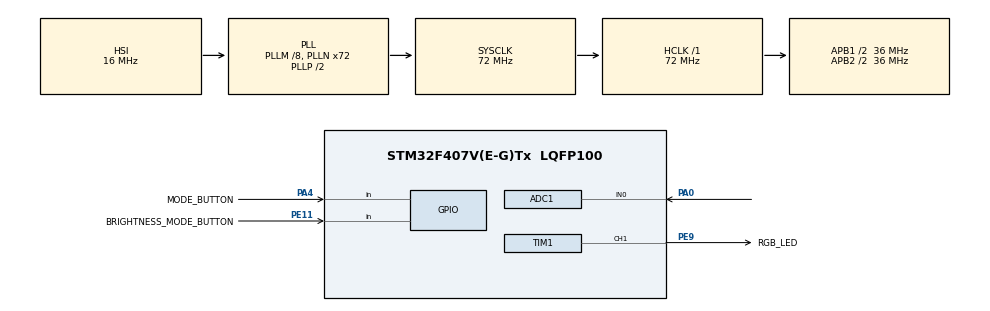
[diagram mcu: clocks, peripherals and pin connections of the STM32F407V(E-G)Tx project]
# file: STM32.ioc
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ADC1.Channel-0\#ChannelRegularConversion=ADC_CHANNEL_0
ADC1.DMAContinuousRequests=DISABLE
ADC1.ExternalTrigConv=ADC_EXTERNALTRIGCONV_T2_TRGO
ADC1.NbrOfConversionFlag=1
ADC1.Rank-0\#ChannelRegularConversion=1
ADC1.SamplingTime-0\#ChannelRegularConversion=ADC_SAMPLETIME_15CYCLES
ADC1.master=1
Dma.Request0=TIM1_CH1
Dma.TIM1_CH1.0.Direction=DMA_MEMORY_TO_PERIPH
Dma.TIM1_CH1.0.FIFOMode=DMA_FIFOMODE_DISABLE
Dma.TIM1_CH1.0.Instance=DMA2_Stream1
Dma.TIM1_CH1.0.MemDataAlignment=DMA_MDATAALIGN_HALFWORD
Dma.TIM1_CH1.0.MemInc=DMA_MINC_ENABLE
Dma.TIM1_CH1.0.Mode=DMA_NORMAL
Dma.TIM1_CH1.0.PeriphDataAlignment=DMA_PDATAALIGN_HALFWORD
Dma.TIM1_CH1.0.PeriphInc=DMA_PINC_DISABLE
Dma.TIM1_CH1.0.Priority=DMA_PRIORITY_HIGH
Mcu.Family=STM32F4
Mcu.Name=STM32F407V(E-G)Tx
Mcu.Package=LQFP100
NVIC.ADC_IRQn=true\:0\:0\:false\:false\:true\:true\:true\:true
NVIC.DMA2_Stream1_IRQn=true\:5\:0\:true\:false\:true\:false\:true\:true
NVIC.PriorityGroup=NVIC_PRIORITYGROUP_4
NVIC.TIM2_IRQn=true\:0\:0\:false\:false\:true\:true\:true\:true
PA0-WKUP.Signal=ADCx_IN0
PA4.GPIO_Label=MODE_BUTTON
PA4.GPIO_PuPd=GPIO_PULLUP
PA4.Signal=GPIO_Input
PE11.GPIO_Label=BRIGHTNESS_MODE_BUTTON
PE11.GPIO_PuPd=GPIO_PULLUP
PE11.Signal=GPIO_Input
PE9.GPIO_Label=RGB_LED
PE9.Signal=S_TIM1_CH1
ProjectManager.HeapSize=0x200
ProjectManager.StackSize=0x400
ProjectManager.TargetToolchain=STM32CubeIDE
RCC.48MHZClocksFreq_Value=36000000
RCC.AHBFreq_Value=72000000
RCC.APB1CLKDivider=RCC_HCLK_DIV2
RCC.APB1Freq_Value=36000000
RCC.APB1TimFreq_Value=72000000
RCC.APB2CLKDivider=RCC_HCLK_DIV2
RCC.APB2Freq_Value=36000000
RCC.APB2TimFreq_Value=72000000
RCC.CortexFreq_Value=72000000
RCC.HCLKFreq_Value=72000000
RCC.HSE_VALUE=8000000
RCC.HSI_VALUE=16000000
RCC.LSE_VALUE=32768
RCC.PLLM=8
RCC.PLLN=72
RCC.SYSCLKFreq_VALUE=72000000
RCC.SYSCLKSource=RCC_SYSCLKSOURCE_PLLCLK
RCC.VCOOutputFreq_Value=144000000
SH.ADCx_IN0.0=ADC1_IN0,IN0
SH.S_TIM1_CH1.0=TIM1_CH1,PWM Generation1 CH1
TIM1.Channel-PWM\ Generation1\ CH1=TIM_CHANNEL_1
TIM1.Period=90 - 1
TIM1.Prescaler=0
TIM2.Period=4
TIM2.Prescaler=999
TIM2.TIM_MasterOutputTrigger=TIM_TRGO_UPDATE
TIM2.TIM_MasterSlaveMode=TIM_MASTERSLAVEMODE_DISABLE
VP_TIM1_VS_ClockSourceINT.Mode=Internal
VP_TIM2_VS_ClockSourceINT.Mode=Internal
board=custom

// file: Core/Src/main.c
/* USER CODE BEGIN Header */
/**
  ******************************************************************************
  * @file           : main.c
  * @brief          : Main program body
  ******************************************************************************
  * @attention
  *
  * Copyright (c) 2025 STMicroelectronics.
  * All rights reserved.
  *
  * This software is licensed under terms that can be found in the LICENSE file
  * in the root directory of this software component.
  * If no LICENSE file comes with this software, it is provided AS-IS.
  *
  ******************************************************************************
  */
/* USER CODE END Header */
#include "main.h"

/* USER CODE BEGIN Includes */
#include "math.h"
#include "time.h"
#include "stdlib.h"
#include "stdbool.h"
#include <stdio.h>
#include "stm32f4xx.h"

#define ARM_MATH_CM4
#include "arm_math.h"
/* USER CODE END Includes */

/* USER CODE BEGIN PD */
#define MAX_LED 54

#define MAX_BRIGHTNESS 255
#define NORMAL_BRIGHTNESS 128
#define USE_BRIGHTNESS 1

// for FFT
#define FFT_BUFFER_SIZE 2048
#define SAMPLE_RATE_HZ 14400.0f
#define UINT16_TO_FLOAT 0.00001525879f

/* USER CODE END PD */

ADC_HandleTypeDef hadc1;
TIM_HandleTypeDef htim1;
TIM_HandleTypeDef htim2;
DMA_HandleTypeDef hdma_tim1_ch1;

/* USER CODE BEGIN PV */

////////////////////////////////////////////////////////////////////////////////
/////////////////////////LED control////////////////////////////////////////////
uint8_t brightness_mode = NORMAL_BRIGHTNESS;
uint16_t LED_DURATION_MS = 100;
uint16_t amp = 0;
bool led_is_on = false;
uint32_t led_on_start = 0;

uint8_t LED_Data[MAX_LED][4];
uint8_t LED_Mod[MAX_LED][4];
int datasentflag = 0;
uint16_t pwmData[(24 * MAX_LED)+50];
uint16_t  effStep = 0;

uint16_t dynamic_threshold = 20;
uint8_t colors[7][3] = {
    {255, 0, 0},     // Red
    {255, 127, 0},   // Orange
    {255, 255, 0},   // Yellow
    {0, 255, 0},     // Green
    {0, 0, 255},     // Blue
    {75, 0, 130},    // Indigo
    {148, 0, 211}    // Violet
};

////////////////////////////////////////////////////////////////////////////////
/////////////////////////Sound intensity control////////////////////////////////

int16_t middle_point_index = 32;
uint32_t middle_point = 0;

int amp_maxn = 1600; 	// Noise
int amp_maxq = 1000;	// Quiet

////////////////////////////////////////////////////////////////////////////////
/////////////////////////Frequency control (FFT)////////////////////////////////
uint16_t peakHz = 0;
arm_rfft_fast_instance_f32 fftHandler;
float fftBufIn[FFT_BUFFER_SIZE];
float fftBufOut[FFT_BUFFER_SIZE];
uint16_t fftIndex = 0;
uint8_t fftReady = 0;

/* USER CODE END PV */

void SystemClock_Config(void);
static void MX_GPIO_Init(void);
static void MX_DMA_Init(void);
static void MX_TIM1_Init(void);
static void MX_ADC1_Init(void);
static void MX_TIM2_Init(void);

/* USER CODE BEGIN 0 */

void record_sample_and_maybe_runFFT(uint16_t raw) {
    // Convert raw 12‐bit ADC (0..4095) to float in [-1,+1], after centering around middle_point

    float centered = ((float)(raw - (uint16_t)(middle_point))) * UINT16_TO_FLOAT;
    fftBufIn[fftIndex] = centered;
    fftIndex++;

    if (fftIndex >= FFT_BUFFER_SIZE) {
        // Run the RFFT in place: fftBufIn → fftBufOut
        arm_rfft_fast_f32(&fftHandler, fftBufIn, fftBufOut, 0);

        fftReady = 1;
        fftIndex = 0; // reset buffer index to record next block
    }
}

void HAL_TIM_PWM_PulseFinishedCallback(TIM_HandleTypeDef *htim) {
    if (htim == &htim1) {
        HAL_TIM_PWM_Stop_DMA(&htim1, TIM_CHANNEL_1);
        datasentflag = 1;
    }
}

void Set_LED (int LEDnum, int Red, int Green, int Blue)
{
	LED_Data[LEDnum][0] = LEDnum;
	LED_Data[LEDnum][1] = Green;
	LED_Data[LEDnum][2] = Red;
	LED_Data[LEDnum][3] = Blue;
}

void Set_Brightness (int brightness)
{
#if USE_BRIGHTNESS
    if (brightness > MAX_BRIGHTNESS) brightness = MAX_BRIGHTNESS;
    float scale = brightness / (float)MAX_BRIGHTNESS;

    for (int i = 0; i < MAX_LED; i++)
    {
        // preserve the “LED number” byte
        LED_Mod[i][0] = LED_Data[i][0];
        // scale each color channel linearly
        LED_Mod[i][1] = (uint8_t)(LED_Data[i][1] * scale);
        LED_Mod[i][2] = (uint8_t)(LED_Data[i][2] * scale);
        LED_Mod[i][3] = (uint8_t)(LED_Data[i][3] * scale);
    }
#endif
}

void WS2812_Send (void)
{
	uint32_t indx=0;
	uint32_t color;

	for (int i= 0; i<MAX_LED; i++)
	{
#if USE_BRIGHTNESS
		color = ((LED_Mod[i][1]<<16) | (LED_Mod[i][2]<<8) | (LED_Mod[i][3]));
#else
		color = ((LED_Data[i][1]<<16) | (LED_Data[i][2]<<8) | (LED_Data[i][3]));
#endif

		for (int i=23; i>=0; i--)
		{
			if (color&(1<<i))
			{
				pwmData[indx] = 60;  // 2/3 of 90
			}

			else pwmData[indx] = 30;  // 1/3 of 90

			indx++;
		}

	}

	for (int i=0; i<50; i++)
	{
		pwmData[indx] = 0;
		indx++;
	}

	HAL_TIM_PWM_Start_DMA(&htim1, TIM_CHANNEL_1, (uint32_t *)pwmData, indx);
	while (!datasentflag){};
	datasentflag = 0;
}

void HSV_to_RGB(float h, float s, float v, uint8_t* r, uint8_t* g, uint8_t* b) {
    int i = (int)(h / 60.0f) % 6;
    float f = (h / 60.0f) - i;
    float p = v * (1.0f - s);
    float q = v * (1.0f - f * s);
    float t = v * (1.0f - (1.0f - f) * s);

    float r_, g_, b_;

    switch (i) {
        case 0: r_ = v; g_ = t; b_ = p; break;
        case 1: r_ = q; g_ = v; b_ = p; break;
        case 2: r_ = p; g_ = v; b_ = t; break;
        case 3: r_ = p; g_ = q; b_ = v; break;
        case 4: r_ = t; g_ = p; b_ = v; break;
        default: r_ = v; g_ = p; b_ = q; break;
    }

    *r = (uint8_t)(r_ * 255);
    *g = (uint8_t)(g_ * 255);
    *b = (uint8_t)(b_ * 255);
}

//effect
void Set_LEDs_color_at_once(int start, int end, int step, int r, int g, int b){
	for (int pos = start; pos < end; pos += step){
		Set_LED(pos, r, g, b);		// purple
	}
}

void Turn_on_all_at_once(int r, int g, int b, int to_led){
	Set_LEDs_color_at_once(0, to_led, 1, r, g, b);
	Set_Brightness(NORMAL_BRIGHTNESS);
	WS2812_Send();
}

void Turn_off_all_at_once(void){
	Set_LEDs_color_at_once(0, MAX_LED, 1, 0, 0, 0);
	Set_Brightness(NORMAL_BRIGHTNESS);
	WS2812_Send();
}

void get_rainbow_color(uint16_t index, uint16_t effStep, uint8_t *red, uint8_t *green, uint8_t *blue)
{
    // Compute a “phase” value in [0, 59], matching the original rainbow_effect logic
    int16_t temp = (int16_t)(effStep - index * 1.2f);
    int16_t mod  = temp % 60;            // may be negative or positive
    if (mod < 0) mod += 60;              // ensure 0 ≤ mod < 60
    uint16_t ind = 60 - mod;             // ind in [1, 60]
    ind = ind % 60;                      // now in [0, 59]

    // Determine which third of the 60-step “wheel” we’re in
    uint16_t segment = (ind % 60) / 20;  // 0 → red→green, 1 → green→blue, 2 → blue→red

    float factor1, factor2;
    uint8_t rr = 0, gg = 0, bb = 0;

    switch (segment) {
        case 0:
            // Transition red → green
            // factor1 goes from 1 → 0 over 20 steps; factor2 goes from 0 → 1
            factor1 = 1.0f - ((float)(ind % 20) / 20.0f);
            factor2 = ((float)(ind % 20) / 20.0f);
            rr = (uint8_t)(255.0f * factor1);
            gg = (uint8_t)(255.0f * factor2);
            bb = 0;
            break;

        case 1:
            // Transition green → blue
            factor1 = 1.0f - ((float)((ind % 60) - 20) / 20.0f);
            factor2 = ((float)((ind % 60) - 20) / 20.0f);
            rr = 0;
            gg = (uint8_t)(255.0f * factor1);
            bb = (uint8_t)(255.0f * factor2);
            break;

        case 2:
            // Transition blue → red
            factor1 = 1.0f - ((float)((ind % 60) - 40) / 20.0f);
            factor2 = ((float)((ind % 60) - 40) / 20.0f);
            rr = (uint8_t)(255.0f * factor2);
            gg = 0;
            bb = (uint8_t)(255.0f * factor1);
            break;
    }

    // Store results
    *red = rr;
    *green = gg;
    *blue = bb;
}

// Helper function to map frequency to color temperature (warm to cool)
void frequency_to_color_temp(uint16_t freq, uint8_t* r, uint8_t* g, uint8_t* b) {
    if (freq < 250) {
        // Low frequencies: Warm colors (Red to Orange)
        float ratio = (float)freq / 250.0f;
        *r = 255;
        *g = (uint8_t)(ratio * 165); // Orange component
        *b = 0;
    } else if (freq <= 2000) {
        // Mid frequencies: Yellow to Green
        float ratio = (float)(freq - 250) / 1750.0f;
        *r = (uint8_t)(255 * (1.0f - ratio)); // Fade out red
        *g = 255;
        *b = 0;
    } else {
        // High frequencies: Cool colors (Green to Blue to Violet)
        float ratio = (freq - 2000) / 18000.0f; // Up to 20kHz
        if (ratio > 1.0f) ratio = 1.0f;

        if (ratio < 0.5f) {
            // Green to Blue
            float t = ratio * 2.0f;
            *r = 0;
            *g = (uint8_t)(255 * (1.0f - t));
            *b = (uint8_t)(255 * t);
        } else {
            // Blue to Violet
            float t = (ratio - 0.5f) * 2.0f;
            *r = (uint8_t)(128 * t);
            *g = 0;
            *b = 255;
        }
    }
}

// Helper function to map frequency to full spectrum (Red to Violet)
void frequency_to_full_spectrum(uint16_t freq, uint8_t* r, uint8_t* g, uint8_t* b) {
    // Map frequency to hue (0-300 degrees)
    float hue = (float)freq / 7000.0f * 300.0f; // 0-7kHz mapped to 0-300°
    if (hue > 300.0f) hue = 300.0f;

    HSV_to_RGB(hue, 1.0f, 1.0f, r, g, b);

}

#define AMP_THRESHOLD 1000     // Amplitude threshold to detect a beat
#define FADE_DURATION_MS 500   // Fade duration in milliseconds
void effect_flash_fade_random_color(uint16_t amp, uint16_t peakHz, uint8_t brightness_mode) {
    static uint32_t last_flash_time = 0;  // Time of the last flash

    uint32_t current_time = HAL_GetTick();  // Current time in milliseconds

    // Beat detection: Check if amplitude exceeds threshold
    if (amp > AMP_THRESHOLD) {
        // Generate a random RGB color (0-255)
        uint8_t r = rand() % 256;
        uint8_t g = rand() % 256;
        uint8_t b = rand() % 256;

        // Set all LEDs to the new random color
        for (int i = 0; i < MAX_LED; i++) {
            Set_LED(i, r, g, b);
        }

        // Update the last flash time to start a new fade cycle
        last_flash_time = current_time;
    }

    // Calculate elapsed time since the last flash
    uint32_t elapsed_time = current_time - last_flash_time;

    // Calculate brightness based on elapsed time
    int brightness;
    if (elapsed_time >= FADE_DURATION_MS) {
        brightness = 0;  // Fully faded out
    } else {
        // Linear fade: brightness decreases from BRIGHTNESS_MODE to 0
        brightness = brightness_mode - (brightness_mode * elapsed_time) / FADE_DURATION_MS;
    }

    // Apply the calculated brightness to the LEDs
    Set_Brightness(brightness);

    // Update the LED strip
    WS2812_Send();
}

void effect_dynamic_vu_meter(uint16_t amplitude, uint16_t peak_freq, uint8_t brightness_mode) {
    // Calculate ratio and number of LEDs to light
    float ratio = (float)amplitude / amp_maxn;
    if (ratio > 1.0f) ratio = 1.0f;

    if (ratio <= 0.05f) {
        Turn_off_all_at_once();
        return;
    }

    int total_leds_to_light = (int)(ratio * MAX_LED);
    if (total_leds_to_light < 1) total_leds_to_light = 1;

    // Get color based on frequency
    uint8_t r, g, b;
    frequency_to_full_spectrum(peak_freq, &r, &g, &b);

    // Clear all LEDs first
    Turn_off_all_at_once();

    // Light LEDs from center outward
    int center = MAX_LED / 2;
    int leds_per_side = total_leds_to_light / 2;

    // Light center LED if odd number
    if (total_leds_to_light % 2 == 1) {
        Set_LED(center, r, g, b);
    }

    // Light LEDs on both sides of center
    for (int i = 1; i <= leds_per_side; i++) {
        if (center - i >= 0) {
            Set_LED(center - i, r, g, b);
        }
        if (center + i < MAX_LED) {
            Set_LED(center + i, r, g, b);
        }
    }

    int brightness = 5 + (int)(ratio * (brightness_mode - 5));
    Set_Brightness(brightness);
    WS2812_Send();
}

void effect_spectrum_color_bands(uint16_t amplitude, uint16_t peak_freq, uint8_t brightness_mode) {
    float ratio = (float)amplitude / amp_maxn;
    if (ratio > 1.0f) ratio = 1.0f;

    if (ratio <= 0.05f) {
        Turn_off_all_at_once();
        return;
    }

    // Define frequency bands and LED sections
    int low_start = 0;
    int low_end = MAX_LED / 3;
    int mid_start = low_end;
    int mid_end = (MAX_LED * 2) / 3;
    int high_start = mid_end;
    int high_end = MAX_LED;

    // Clear all LEDs
    Turn_off_all_at_once();

    // Determine which band the peak frequency falls into
    uint8_t r = 0, g = 0, b = 0;
    int start_led = 0, end_led = 0;

    if (peak_freq <= 250) {
        // Low frequency band - Red
        frequency_to_full_spectrum(peak_freq, &r, &g, &b);
        start_led = low_start;
        end_led = low_end;
    } else if (peak_freq <= 2000) {
        // Mid frequency band - Green
    	frequency_to_full_spectrum(peak_freq, &r, &g, &b);
        start_led = mid_start;
        end_led = mid_end;
    } else {
        // High frequency band - Blue
    	frequency_to_full_spectrum(peak_freq, &r, &g, &b);
        start_led = high_start;
        end_led = high_end;
    }

    // Light up the appropriate section
    for (int i = start_led; i < end_led; i++) {
        Set_LED(i, r, g, b);
    }

    int brightness = 5 + (int)(ratio * (brightness_mode - 5));
    Set_Brightness(brightness);
    WS2812_Send();
}

// Structure to hold pulse data
typedef struct {
    int position;           // Current position of pulse
    uint8_t r, g, b;       // Color of pulse
    uint8_t brightness;    // Brightness of pulse
    uint8_t length;        // Length of pulse in LEDs
    uint8_t active;        // Whether pulse is active
} Pulse;

#define MAX_PULSES 8
static Pulse pulses[MAX_PULSES];
static uint16_t last_amp = 0;
static uint32_t last_pulse_time = 0;

void effect_frequency_chase_gradient(uint16_t amplitude, uint16_t peak_freq, uint8_t brightness_mode) {
    const uint16_t BEAT_THRESHOLD = 800;  // Adjust based on your amp_maxn
    const uint32_t MIN_PULSE_INTERVAL = 100; // Minimum time between pulses (ms)

    uint32_t current_time = HAL_GetTick();

    // Beat detection: amplitude spike above threshold
    if (amplitude > BEAT_THRESHOLD &&
        amplitude > (last_amp + 200) &&
        (current_time - last_pulse_time) > MIN_PULSE_INTERVAL) {

        // Find an inactive pulse slot
        for (int i = 0; i < MAX_PULSES; i++) {
            if (!pulses[i].active) {
                // Initialize new pulse
                pulses[i].position = 0;
                frequency_to_full_spectrum(peak_freq, &pulses[i].r, &pulses[i].g, &pulses[i].b);

                float ratio = (float)amplitude / amp_maxn;
                if (ratio > 1.0f) ratio = 1.0f;

                pulses[i].brightness = (uint8_t)(ratio * 255);
                pulses[i].length = 3 + (uint8_t)(ratio * 8); // 3-11 LEDs long
                pulses[i].active = 1;

                last_pulse_time = current_time;
                break;
            }
        }
    }

    // Clear all LEDs
    Turn_off_all_at_once();

    // Update and draw all active pulses
    for (int i = 0; i < MAX_PULSES; i++) {
        if (pulses[i].active) {
            // Draw pulse with fade-out trail
            for (int j = 0; j < pulses[i].length; j++) {
                int led_pos = pulses[i].position - j;
                if (led_pos >= 0 && led_pos < MAX_LED) {
                    // Calculate fade factor for trail
                    float fade = 1.0f - ((float)j / pulses[i].length);
                    uint8_t r = (uint8_t)(pulses[i].r * fade);
                    uint8_t g = (uint8_t)(pulses[i].g * fade);
                    uint8_t b = (uint8_t)(pulses[i].b * fade);

                    // Blend with existing LED color (simple additive)
                    uint8_t existing_r = LED_Data[led_pos][2];
                    uint8_t existing_g = LED_Data[led_pos][1];
                    uint8_t existing_b = LED_Data[led_pos][3];

                    r = (r + existing_r > 255) ? 255 : r + existing_r;
                    g = (g + existing_g > 255) ? 255 : g + existing_g;
                    b = (b + existing_b > 255) ? 255 : b + existing_b;

                    Set_LED(led_pos, r, g, b);
                }
            }

            // Move pulse forward
            pulses[i].position++;

            // Deactivate pulse if it's moved off the strip
            if (pulses[i].position >= MAX_LED + pulses[i].length) {
                pulses[i].active = 0;
            }
        }
    }

    Set_Brightness(brightness_mode);
    WS2812_Send();

    last_amp = amplitude;
}

void effect_rainbow_roll(uint16_t amplitude, uint16_t peak_freq, uint8_t brightness_mode) {
    static float offset = 0.0f;

    float ratio = (float)amplitude / amp_maxn;
    if (ratio > 1.0f) ratio = 1.0f;

    // Cập nhật offset dựa vào tần số đỉnh
    offset += ((float)peak_freq / 100.0f);  // tốc độ cuộn
    if (offset >= 360.0f) offset -= 360.0f;

    for (int i = 0; i < MAX_LED; i++) {
        float hue = fmodf(offset + (i * (360.0f / MAX_LED)), 360.0f);
        uint8_t r, g, b;
        HSV_to_RGB(hue, 1.0f, ratio, &r, &g, &b);
        Set_LED(i, r, g, b);
    }

    int brightness = 5 + (int)(ratio * (brightness_mode - 5));
    Set_Brightness(brightness);
    WS2812_Send();
}

#define BASS_THRESHOLD 1200		// tăng để LED sáng hơn
#define BASS_FADE_MS 300		// tăng để LED tắt chậm hơn

void effect_bass_pulse_glow(uint16_t amplitude, uint16_t peak_freq, uint8_t brightness_mode) {
    static uint32_t last_bass_time = 0;
    static float hue = 0.0f;
    uint32_t now = HAL_GetTick();

    // Nếu là bass mạnh → cập nhật thời gian và màu sắc (hue)
    if (peak_freq <= 250 && amplitude > BASS_THRESHOLD) {
        last_bass_time = now;

        hue += 30.0f;  // Tăng hue để chuyển màu theo dải cầu vồng
        if (hue >= 360.0f) hue -= 360.0f;
    }

    // Tính độ sáng fade theo thời gian kể từ lần bass gần nhất
    uint32_t elapsed = now - last_bass_time;
    int brightness;

    if (elapsed >= BASS_FADE_MS) {
        brightness = 0;
    } else {
        brightness = brightness_mode - (brightness_mode * elapsed) / BASS_FADE_MS;
    }

    // Chuyển hue → RGB
    uint8_t r, g, b;
    HSV_to_RGB(hue, 1.0f, 1.0f, &r, &g, &b);  // Độ sáng sẽ được điều chỉnh sau bằng Set_Brightness()

    // Set toàn bộ LED thành màu đang có
    for (int i = 0; i < MAX_LED; i++) {
        Set_LED(i, r, g, b);
    }

    Set_Brightness(brightness);
    WS2812_Send();
}

/* USER CODE END 0 */

int main(void)
{

  /* USER CODE BEGIN 1 */

  srand(HAL_GetTick());
  uint8_t mode_button_index = 0;
  uint8_t brightness_button_count = 0;

  /* USER CODE END 1 */

  /* MCU Configuration--------------------------------------------------------*/

  /* Reset of all peripherals, Initializes the Flash interface and the Systick. */
  HAL_Init();

  /* Configure the system clock */
  SystemClock_Config();

  /* Initialize all configured peripherals */
  MX_GPIO_Init();
  MX_DMA_Init();
  MX_TIM1_Init();
  MX_ADC1_Init();
  MX_TIM2_Init();
  /* USER CODE BEGIN 2 */

  HAL_TIM_Base_Start(&htim2);
  HAL_ADC_Start_IT(&hadc1);
  arm_rfft_fast_init_f32(&fftHandler, FFT_BUFFER_SIZE);
  HAL_Delay(50); // delay de co thoi gian de lay sample offset_point

  float	peakVal	= 0.0f;

  /* USER CODE END 2 */

  /* Infinite loop */
  /* USER CODE BEGIN WHILE */
  while (1)
  {

	/////////////////////////////////////////////////////////////////////////////////////////
	// FFT process
			  if (fftReady){
				  peakVal = 0.0f;
				  peakHz = 0.0f;

				  uint16_t halfBins = FFT_BUFFER_SIZE / 2;
				  for (uint16_t k = 1; k < halfBins; k++) {
					  float re = fftBufOut[2 * k];
					  float im = fftBufOut[2 * k + 1];
					  float mag = sqrtf(re * re + im * im);
					  if (mag > peakVal) {
						  peakVal = mag;
						  peakHz  = (uint16_t)(k  * SAMPLE_RATE_HZ / (float)(FFT_BUFFER_SIZE));
					  }
				  }

				  fftReady = 0;
			  }
	/////////////////////////////////////////////////////////////////////////////////////////
	// Effects
			  if(HAL_GPIO_ReadPin(MODE_BUTTON_GPIO_Port, MODE_BUTTON_Pin) == 0) {
				  while(HAL_GPIO_ReadPin(MODE_BUTTON_GPIO_Port, MODE_BUTTON_Pin) == 0) {}
				  mode_button_index = (mode_button_index + 1) % 6;
			  }

			  switch (mode_button_index) {
			  	  case 0: effect_flash_fade_random_color(amp, peakHz, brightness_mode); break;
			  	  case 1: effect_dynamic_vu_meter(amp, peakHz, brightness_mode); break;
			  	  case 2: effect_spectrum_color_bands(amp, peakHz, brightness_mode); break;
			  	  case 3: effect_frequency_chase_gradient(amp, peakHz, brightness_mode); break;
			  	  case 4: effect_rainbow_roll(amp, peakHz, brightness_mode); break;
			  	  case 5: effect_bass_pulse_glow(amp, peakHz, brightness_mode); break;
			  	  default: effect_flash_fade_random_color(amp, peakHz, brightness_mode); break;
			  }

			  if(HAL_GPIO_ReadPin(BRIGHTNESS_MODE_BUTTON_GPIO_Port, BRIGHTNESS_MODE_BUTTON_Pin) == 0) {
				  while(HAL_GPIO_ReadPin(BRIGHTNESS_MODE_BUTTON_GPIO_Port, BRIGHTNESS_MODE_BUTTON_Pin) == 0) {}
				  brightness_mode = (uint8_t)((float)MAX_BRIGHTNESS * ((25.0f * (float)brightness_button_count) / 100.0f));
				  brightness_button_count = (brightness_button_count + 1) % 5;
			  }
		  HAL_Delay(2);
	/////////////////////////////////////////////////////////////////////////////////////////

    /* USER CODE END WHILE */

  }
}

void SystemClock_Config(void)
{
  RCC_OscInitTypeDef RCC_OscInitStruct = {0};
  RCC_ClkInitTypeDef RCC_ClkInitStruct = {0};

  /** Configure the main internal regulator output voltage
  */
  __HAL_RCC_PWR_CLK_ENABLE();
  __HAL_PWR_VOLTAGESCALING_CONFIG(PWR_REGULATOR_VOLTAGE_SCALE1);

  /** Initializes the RCC Oscillators according to the specified parameters
  * in the RCC_OscInitTypeDef structure.
  */
  RCC_OscInitStruct.OscillatorType = RCC_OSCILLATORTYPE_HSI;
  RCC_OscInitStruct.HSIState = RCC_HSI_ON;
  RCC_OscInitStruct.HSICalibrationValue = RCC_HSICALIBRATION_DEFAULT;
  RCC_OscInitStruct.PLL.PLLState = RCC_PLL_ON;
  RCC_OscInitStruct.PLL.PLLSource = RCC_PLLSOURCE_HSI;
  RCC_OscInitStruct.PLL.PLLM = 8;
  RCC_OscInitStruct.PLL.PLLN = 72;
  RCC_OscInitStruct.PLL.PLLP = RCC_PLLP_DIV2;
  RCC_OscInitStruct.PLL.PLLQ = 4;
  if (HAL_RCC_OscConfig(&RCC_OscInitStruct) != HAL_OK)
  {
    Error_Handler();
  }

  /** Initializes the CPU, AHB and APB buses clocks
  */
  RCC_ClkInitStruct.ClockType = RCC_CLOCKTYPE_HCLK|RCC_CLOCKTYPE_SYSCLK
                              |RCC_CLOCKTYPE_PCLK1|RCC_CLOCKTYPE_PCLK2;
  RCC_ClkInitStruct.SYSCLKSource = RCC_SYSCLKSOURCE_PLLCLK;
  RCC_ClkInitStruct.AHBCLKDivider = RCC_SYSCLK_DIV1;
  RCC_ClkInitStruct.APB1CLKDivider = RCC_HCLK_DIV2;
  RCC_ClkInitStruct.APB2CLKDivider = RCC_HCLK_DIV2;

  if (HAL_RCC_ClockConfig(&RCC_ClkInitStruct, FLASH_LATENCY_2) != HAL_OK)
  {
    Error_Handler();
  }
}

static void MX_ADC1_Init(void)
{

  ADC_ChannelConfTypeDef sConfig = {0};

  /** Configure the global features of the ADC (Clock, Resolution, Data Alignment and number of conversion)
  */
  hadc1.Instance = ADC1;
  hadc1.Init.ClockPrescaler = ADC_CLOCK_SYNC_PCLK_DIV2;
  hadc1.Init.Resolution = ADC_RESOLUTION_12B;
  hadc1.Init.ScanConvMode = DISABLE;
  hadc1.Init.ContinuousConvMode = DISABLE;
  hadc1.Init.DiscontinuousConvMode = DISABLE;
  hadc1.Init.ExternalTrigConvEdge = ADC_EXTERNALTRIGCONVEDGE_RISING;
  hadc1.Init.ExternalTrigConv = ADC_EXTERNALTRIGCONV_T2_TRGO;
  hadc1.Init.DataAlign = ADC_DATAALIGN_RIGHT;
  hadc1.Init.NbrOfConversion = 1;
  hadc1.Init.DMAContinuousRequests = DISABLE;
  hadc1.Init.EOCSelection = ADC_EOC_SINGLE_CONV;
  if (HAL_ADC_Init(&hadc1) != HAL_OK)
  {
    Error_Handler();
  }

  /** Configure for the selected ADC regular channel its corresponding rank in the sequencer and its sample time.
  */
  sConfig.Channel = ADC_CHANNEL_0;
  sConfig.Rank = 1;
  sConfig.SamplingTime = ADC_SAMPLETIME_15CYCLES;
  if (HAL_ADC_ConfigChannel(&hadc1, &sConfig) != HAL_OK)
  {
    Error_Handler();
  }

}

static void MX_TIM1_Init(void)
{

  TIM_ClockConfigTypeDef sClockSourceConfig = {0};
  TIM_MasterConfigTypeDef sMasterConfig = {0};
  TIM_OC_InitTypeDef sConfigOC = {0};
  TIM_BreakDeadTimeConfigTypeDef sBreakDeadTimeConfig = {0};

  htim1.Instance = TIM1;
  htim1.Init.Prescaler = 0;
  htim1.Init.CounterMode = TIM_COUNTERMODE_UP;
  htim1.Init.Period = 90 - 1;
  htim1.Init.ClockDivision = TIM_CLOCKDIVISION_DIV1;
  htim1.Init.RepetitionCounter = 0;
  htim1.Init.AutoReloadPreload = TIM_AUTORELOAD_PRELOAD_DISABLE;
  if (HAL_TIM_Base_Init(&htim1) != HAL_OK)
  {
    Error_Handler();
  }
  sClockSourceConfig.ClockSource = TIM_CLOCKSOURCE_INTERNAL;
  if (HAL_TIM_ConfigClockSource(&htim1, &sClockSourceConfig) != HAL_OK)
  {
    Error_Handler();
  }
  if (HAL_TIM_PWM_Init(&htim1) != HAL_OK)
  {
    Error_Handler();
  }
  sMasterConfig.MasterOutputTrigger = TIM_TRGO_RESET;
  sMasterConfig.MasterSlaveMode = TIM_MASTERSLAVEMODE_DISABLE;
  if (HAL_TIMEx_MasterConfigSynchronization(&htim1, &sMasterConfig) != HAL_OK)
  {
    Error_Handler();
  }
  sConfigOC.OCMode = TIM_OCMODE_PWM1;
  sConfigOC.Pulse = 0;
  sConfigOC.OCPolarity = TIM_OCPOLARITY_HIGH;
  sConfigOC.OCNPolarity = TIM_OCNPOLARITY_HIGH;
  sConfigOC.OCFastMode = TIM_OCFAST_DISABLE;
  sConfigOC.OCIdleState = TIM_OCIDLESTATE_RESET;
  sConfigOC.OCNIdleState = TIM_OCNIDLESTATE_RESET;
  if (HAL_TIM_PWM_ConfigChannel(&htim1, &sConfigOC, TIM_CHANNEL_1) != HAL_OK)
  {
    Error_Handler();
  }
  sBreakDeadTimeConfig.OffStateRunMode = TIM_OSSR_DISABLE;
  sBreakDeadTimeConfig.OffStateIDLEMode = TIM_OSSI_DISABLE;
  sBreakDeadTimeConfig.LockLevel = TIM_LOCKLEVEL_OFF;
  sBreakDeadTimeConfig.DeadTime = 0;
  sBreakDeadTimeConfig.BreakState = TIM_BREAK_DISABLE;
  sBreakDeadTimeConfig.BreakPolarity = TIM_BREAKPOLARITY_HIGH;
  sBreakDeadTimeConfig.AutomaticOutput = TIM_AUTOMATICOUTPUT_DISABLE;
  if (HAL_TIMEx_ConfigBreakDeadTime(&htim1, &sBreakDeadTimeConfig) != HAL_OK)
  {
    Error_Handler();
  }
  HAL_TIM_MspPostInit(&htim1);

}

static void MX_TIM2_Init(void)
{

  TIM_ClockConfigTypeDef sClockSourceConfig = {0};
  TIM_MasterConfigTypeDef sMasterConfig = {0};

  htim2.Instance = TIM2;
  htim2.Init.Prescaler = 999;
  htim2.Init.CounterMode = TIM_COUNTERMODE_UP;
  htim2.Init.Period = 4;
  htim2.Init.ClockDivision = TIM_CLOCKDIVISION_DIV1;
  htim2.Init.AutoReloadPreload = TIM_AUTORELOAD_PRELOAD_DISABLE;
  if (HAL_TIM_Base_Init(&htim2) != HAL_OK)
  {
    Error_Handler();
  }
  sClockSourceConfig.ClockSource = TIM_CLOCKSOURCE_INTERNAL;
  if (HAL_TIM_ConfigClockSource(&htim2, &sClockSourceConfig) != HAL_OK)
  {
    Error_Handler();
  }
  sMasterConfig.MasterOutputTrigger = TIM_TRGO_UPDATE;
  sMasterConfig.MasterSlaveMode = TIM_MASTERSLAVEMODE_DISABLE;
  if (HAL_TIMEx_MasterConfigSynchronization(&htim2, &sMasterConfig) != HAL_OK)
  {
    Error_Handler();
  }

}

static void MX_DMA_Init(void)
{

  /* DMA controller clock enable */
  __HAL_RCC_DMA2_CLK_ENABLE();

  /* DMA interrupt init */
  /* DMA2_Stream1_IRQn interrupt configuration */
  HAL_NVIC_SetPriority(DMA2_Stream1_IRQn, 5, 0);
  HAL_NVIC_EnableIRQ(DMA2_Stream1_IRQn);

}

static void MX_GPIO_Init(void)
{
  GPIO_InitTypeDef GPIO_InitStruct = {0};

  /* GPIO Ports Clock Enable */
  __HAL_RCC_GPIOA_CLK_ENABLE();
  __HAL_RCC_GPIOE_CLK_ENABLE();

  /*Configure GPIO pin : MODE_BUTTON_Pin */
  GPIO_InitStruct.Pin = MODE_BUTTON_Pin;
  GPIO_InitStruct.Mode = GPIO_MODE_INPUT;
  GPIO_InitStruct.Pull = GPIO_PULLUP;
  HAL_GPIO_Init(MODE_BUTTON_GPIO_Port, &GPIO_InitStruct);

  /*Configure GPIO pin : BRIGHTNESS_MODE_BUTTON_Pin */
  GPIO_InitStruct.Pin = BRIGHTNESS_MODE_BUTTON_Pin;
  GPIO_InitStruct.Mode = GPIO_MODE_INPUT;
  GPIO_InitStruct.Pull = GPIO_PULLUP;
  HAL_GPIO_Init(BRIGHTNESS_MODE_BUTTON_GPIO_Port, &GPIO_InitStruct);

  /* USER CODE BEGIN MX_GPIO_Init_2 */
     GPIO_InitStruct.Pin  = GPIO_PIN_0;
     GPIO_InitStruct.Mode = GPIO_MODE_ANALOG;
     GPIO_InitStruct.Pull = GPIO_NOPULL;
     HAL_GPIO_Init(GPIOA, &GPIO_InitStruct);
  /* USER CODE END MX_GPIO_Init_2 */
}

/* USER CODE BEGIN 4 */
void HAL_ADC_ConvCpltCallback(ADC_HandleTypeDef* hadc) {

	if (hadc->Instance == ADC1)
	    {

			uint16_t raw = HAL_ADC_GetValue(&hadc1);

			// Tinh toan middle point tu 32 sample dau tien
			if ( middle_point_index > 0){
				middle_point += raw;
				middle_point_index--;
			}

			else if (middle_point_index == 0){
				middle_point/= 32;
				middle_point_index--;
			}

			else{
			// Ghi sample vao fftBufIn
				record_sample_and_maybe_runFFT(raw);
			}

	        amp = abs(raw - (uint16_t)middle_point);

	    }

}
/* USER CODE END 4 */

void Error_Handler(void)
{
  __disable_irq();
  while (1)
  {
  }
}
